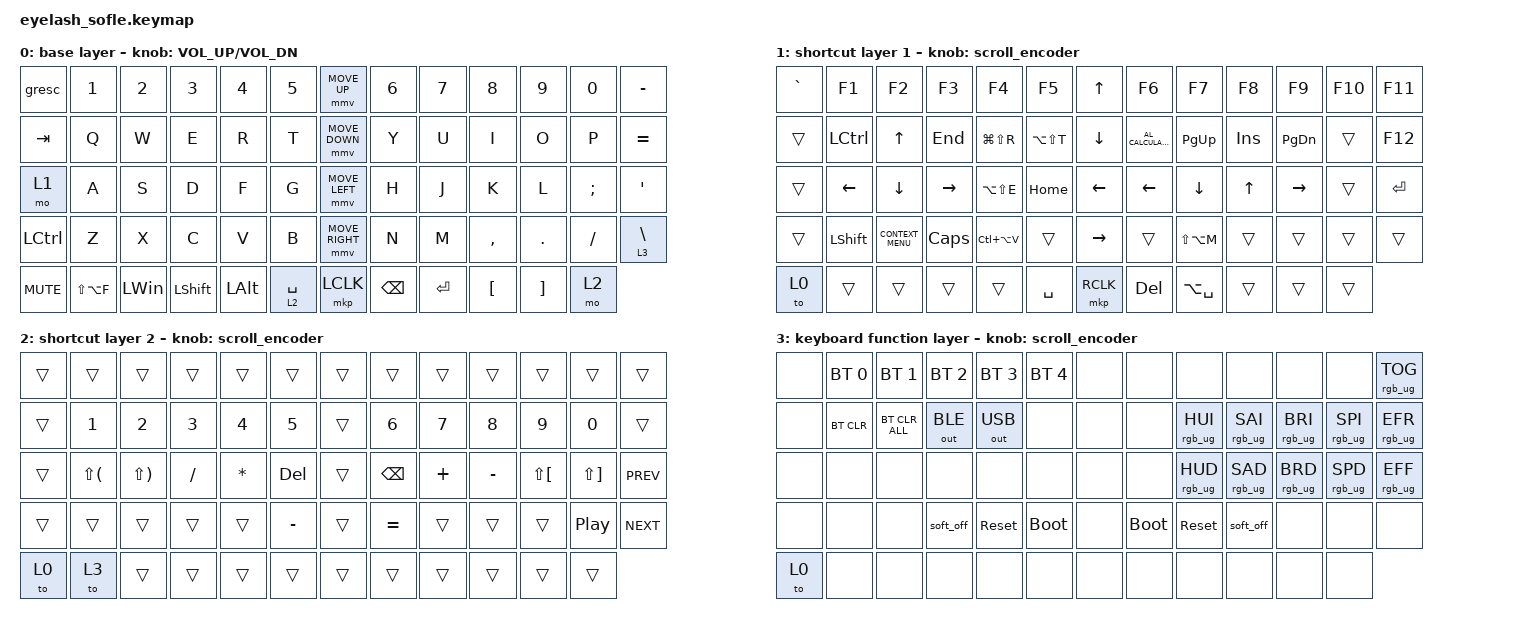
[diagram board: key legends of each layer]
#define ZMK_POINTING_DEFAULT_MOVE_VAL 1200  // 600
#define ZMK_POINTING_DEFAULT_SCRL_VAL 35    // 10

#include <input/processors.dtsi>
#include <zephyr/dt-bindings/input/input-event-codes.h>
#include <behaviors.dtsi>
#include <dt-bindings/zmk/bt.h>
#include <dt-bindings/zmk/keys.h>
#include <dt-bindings/zmk/outputs.h>
#include <dt-bindings/zmk/pointing.h>
#include <dt-bindings/zmk/pointing.h>
#include <dt-bindings/zmk/pointing.h>
#include <dt-bindings/zmk/rgb.h>

/ {
    zip_scroll_scaler: zip_scroll_scaler {
        compatible = "zmk,input-processor-scaler";
        #input-processor-cells = <2>;
        type = <INPUT_EV_REL>;
        codes = <INPUT_REL_WHEEL INPUT_REL_HWHEEL>;
        track-remainders;
    };
};

&mmv_input_listener { input-processors = <&zip_xy_scaler 2 1>; };

&msc_input_listener { input-processors = <&zip_scroll_scaler 2 1>; };

&msc {
    acceleration-exponent = <0>;      // 0
    time-to-max-speed-ms = <0>;       // 300
    delay-ms = <0>;                   // 0
};

&mmv {
    time-to-max-speed-ms = <400>;
    acceleration-exponent = <1>;
};

/ {
    scroll_encoder: scroll_encoder {
        compatible = "zmk,behavior-sensor-rotate";
        #sensor-binding-cells = <0>;
        bindings = <&msc SCRL_DOWN>, <&msc SCRL_UP>;

        tap-ms = <30>;
    };

    behaviors {
    };

    keymap {
        compatible = "zmk,keymap";

        layer0 {
            bindings = <
&gresc      &kp N1         &kp N2        &kp N3          &kp N4        &kp N5         &mmv MOVE_UP     &kp N6         &kp N7     &kp N8            &kp N9             &kp N0    &kp MINUS
&kp TAB     &kp Q          &kp W         &kp E           &kp R         &kp T          &mmv MOVE_DOWN   &kp Y          &kp U      &kp I             &kp O              &kp P     &kp EQUAL
&mo 1       &kp A          &kp S         &kp D           &kp F         &kp G          &mmv MOVE_LEFT   &kp H          &kp J      &kp K             &kp L              &kp SEMI  &kp APOS
&kp LCTRL   &kp Z          &kp X         &kp C           &kp V         &kp B          &mmv MOVE_RIGHT  &kp N          &kp M      &kp COMMA         &kp DOT            &kp FSLH  &lt 3 BACKSLASH
&kp C_MUTE  &kp LS(LA(F))  &kp LEFT_WIN  &kp LEFT_SHIFT  &kp LEFT_ALT  &lt 2 SPACE    &mkp LCLK        &kp BACKSPACE  &kp ENTER  &kp LEFT_BRACKET  &kp RIGHT_BRACKET  &mo 2
            >;

            sensor-bindings = <&inc_dec_kp C_VOLUME_UP C_VOL_DN>;
            display-name = "base layer";
        };

        layer1 {
            bindings = <
&kp GRAVE  &kp F1      &kp F2              &kp F3        &kp F4         &kp F5           &kp UP     &kp F6               &kp F7         &kp F8      &kp F9         &kp F10  &kp F11
&trans     &kp LCTRL   &kp UP              &kp END       &kp LG(LS(R))  &kp LA(LS(T))    &kp DOWN   &kp C_AL_CALCULATOR  &kp PAGE_UP    &kp INSERT  &kp PAGE_DOWN  &trans   &kp F12
&trans     &kp LEFT    &kp DOWN            &kp RIGHT     &kp LA(LS(E))  &kp HOME         &kp LEFT   &kp LEFT             &kp DOWN       &kp UP      &kp RIGHT      &trans   &kp ENTER
&trans     &kp LSHIFT  &kp K_CONTEXT_MENU  &kp CAPSLOCK  &kp LC(LA(V))  &trans           &kp RIGHT  &trans               &kp LS(LA(M))  &trans      &trans         &trans   &trans
&to 0      &trans      &trans              &trans        &trans         &kp SPACE        &mkp RCLK  &kp DELETE           &kp LA(SPACE)  &trans      &trans         &trans
            >;

            sensor-bindings = <&scroll_encoder>;
            display-name = "shortcut layer 1";
        };

        layer2 {
            bindings = <
&trans  &trans        &trans        &trans    &trans    &trans        &trans  &trans     &trans    &trans     &trans        &trans            &trans
&trans  &kp N1        &kp N2        &kp N3    &kp N4    &kp N5        &trans  &kp N6     &kp N7    &kp N8     &kp N9        &kp N0            &trans
&trans  &kp LS(LPAR)  &kp LS(RPAR)  &kp FSLH  &kp STAR  &kp DELETE    &trans  &kp BSPC   &kp PLUS  &kp MINUS  &kp LS(LBKT)  &kp LS(RBKT)      &kp C_PREV
&trans  &trans        &trans        &trans    &trans    &kp MINUS     &trans  &kp EQUAL  &trans    &trans     &trans        &kp C_PLAY_PAUSE  &kp C_NEXT
&to 0   &to 3         &trans        &trans    &trans    &trans        &trans  &trans     &trans    &trans     &trans        &trans
            >;

            sensor-bindings = <&scroll_encoder>;
            display-name = "shortcut layer 2";
        };

        layer3 {
            bindings = <
&none  &bt BT_SEL 0  &bt BT_SEL 1    &bt BT_SEL 2  &bt BT_SEL 3  &bt BT_SEL 4    &none  &none        &none            &none            &none            &none            &rgb_ug RGB_TOG
&none  &bt BT_CLR    &bt BT_CLR_ALL  &out OUT_BLE  &out OUT_USB  &none           &none  &none        &rgb_ug RGB_HUI  &rgb_ug RGB_SAI  &rgb_ug RGB_BRI  &rgb_ug RGB_SPI  &rgb_ug RGB_EFR
&none  &none         &none           &none         &none         &none           &none  &none        &rgb_ug RGB_HUD  &rgb_ug RGB_SAD  &rgb_ug RGB_BRD  &rgb_ug RGB_SPD  &rgb_ug RGB_EFF
&none  &none         &none           &soft_off     &sys_reset    &bootloader     &none  &bootloader  &sys_reset       &soft_off        &none            &none            &none
&to 0  &none         &none           &none         &none         &none           &none  &none        &none            &none            &none            &none
            >;

            sensor-bindings = <&scroll_encoder>;
            display-name = "keyboard function layer";
        };
    };
};
